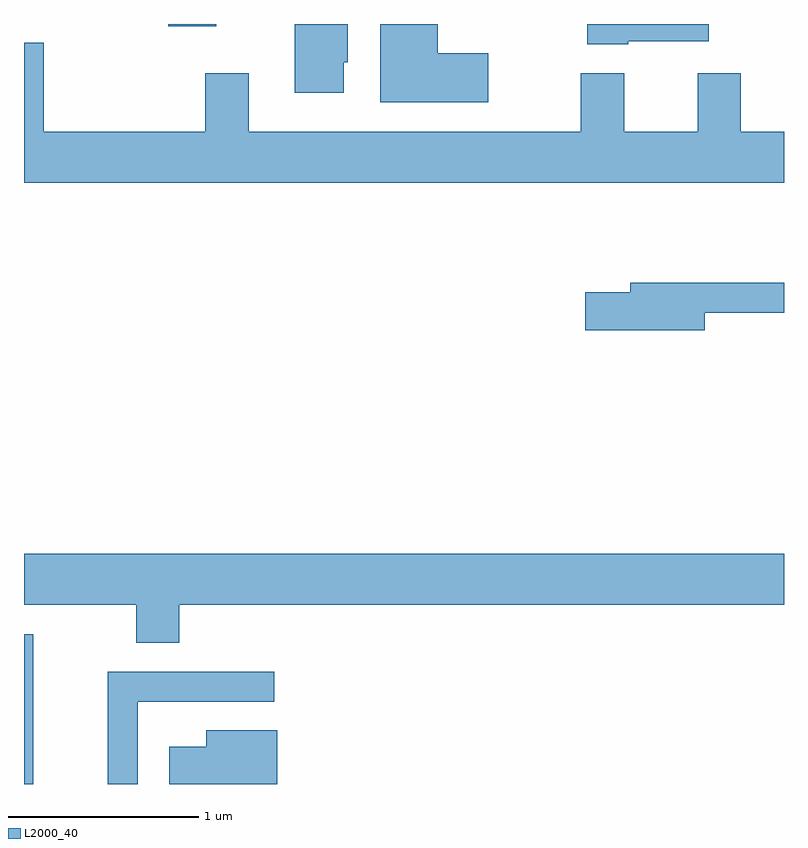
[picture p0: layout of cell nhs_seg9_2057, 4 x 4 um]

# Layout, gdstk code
import gdstk
lib = gdstk.Library(unit=1e-6, precision=1e-09)
def R(c, l, rs):  # rectangles x0, y0, x1, y1
    for r in rs: c.add(gdstk.rectangle(r[:2], r[2:], *l))
def P(c, l, *ps):  # polygons
    for p in ps: c.add(gdstk.Polygon(p, *l))
L2000_40 = (2000, 40)

nhs_seg9_2057 = lib.new_cell('nhs_seg9_2057')
R(nhs_seg9_2057, L2000_40, [(245.611,1986.432,245.659,1987.219), (246.371,1990.421,246.624,1990.432)])
P(nhs_seg9_2057, L2000_40, [(248.054,1990.279),(247.789,1990.279),(247.789,1990.432),(247.486,1990.432),(247.486,1990.021),(248.054,1990.021)],
  [(247.294,1990.231),(247.314,1990.231),(247.314,1990.432),(247.036,1990.432),(247.036,1990.071),(247.294,1990.071)],
  [(248.79,1990.341),(249.214,1990.341),(249.214,1990.432),(248.576,1990.432),(248.576,1990.326),(248.79,1990.326)],
  [(249.611,1989.864),(249.384,1989.864),(249.384,1990.174),(249.156,1990.174),(249.156,1989.864),(248.769,1989.864),(248.769,1990.174),(248.541,1990.174),(248.541,1989.864),(246.794,1989.864),(246.794,1990.174),(246.566,1990.174),(246.566,1989.864),(245.714,1989.864),(245.714,1990.334),(245.611,1990.334),(245.611,1989.596),(249.611,1989.596)],
  [(249.194,1988.911),(249.611,1988.911),(249.611,1989.069),(248.801,1989.069),(248.801,1989.019),(248.566,1989.019),(248.566,1988.821),(249.194,1988.821)],
  [(246.429,1987.376),(249.611,1987.376),(249.611,1987.644),(245.611,1987.644),(245.611,1987.376),(246.201,1987.376),(246.201,1987.176),(246.429,1987.176)],
  [(246.209,1986.866),(246.928,1986.866),(246.928,1987.024),(246.051,1987.024),(246.051,1986.432),(246.209,1986.432)],
  [(246.944,1986.714),(246.571,1986.714),(246.571,1986.629),(246.376,1986.629),(246.376,1986.432),(246.944,1986.432)])

lib.write_gds('nhs_seg9_2057.gds')
